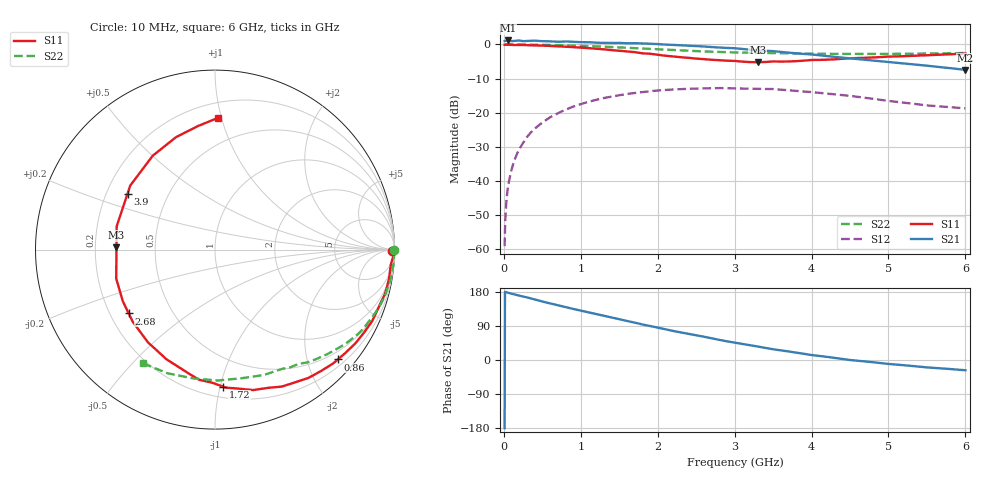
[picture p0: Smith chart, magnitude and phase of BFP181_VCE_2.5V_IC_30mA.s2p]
! Infineon Technologies  Discrete & RF Semiconductors
! BFP181
! VCE = 2.5 V,  IC =  30 mA
! Common Emitter S-Parameters:  Jan 2016
# GHz  S  MA  R  50
!  f  S11  S21  S12  S22
! GHz  MAG  ANG  MAG  ANG  MAG  ANG  MAG  ANG
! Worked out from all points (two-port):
!   210 points, 10 MHz to 6 GHz, reference 50 ohm
!   highest |S21| = 1.17 dB at 50 MHz (marker M1); lowest = -7.5 dB at 6 GHz (marker M2)
!   |S21| within 3 dB of the highest: start of sweep to 3.386 GHz
!   lowest |S11| = -5.2 dB at 3.3 GHz (marker M3), VSWR 3.43, Z = 14.6 + j0.559 ohm
!   |S11| at or under -10 dB: nowhere
!   |S22| runs from -2.8 to 0.0 dB; largest |S21 - S12| = 1.1
!   S11 on the Smith chart (normalised r, x): 10 MHz: open; 860 MHz: 0.33, -2.58; 1.72 GHz: 0.28, -1.02; 2.68 GHz: 0.28, -0.31; 3.9 GHz: 0.29, +0.27; 6 GHz: 0.31, +0.98
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0.01  0.9874 -0.6  1.12 -180.0  0.0011 84.5  0.9996 -0.2
0.015  0.9886 -0.8  1.122 179.8  0.0019 86.7  0.9987 -0.3
0.025  0.9903 -1.2  1.128 179.4  0.0036 89.9  0.998 -0.5
0.05  0.9933 -2.3  1.144 177.7  0.0076 94.2  0.9984 -1.2
0.09  0.9849 -4.4  1.123 175.5  0.0131 86.7  0.998 -2.2
0.14  0.9826 -6.7  1.128 173.0  0.0203 84.7  0.9977 -3.4
0.2  0.9829 -9.7  1.142 169.9  0.0291 83.2  0.9975 -4.8
0.3  0.9783 -14.7  1.125 165.3  0.0438 79.4  0.9943 -7.3
0.56  0.9544 -27.2  1.113 151.4  0.0796 69.5  0.9837 -13.5
0.86  0.9181 -41.8  1.1 136.9  0.1175 58.8  0.9644 -20.5
1.02  0.8948 -49.9  1.079 129.4  0.1354 53.5  0.9503 -24.1
1.3  0.8491 -64.0  1.056 116.7  0.1636 44.1  0.9272 -30.2
1.72  0.7653 -86.5  1.042 97.9  0.1949 31.1  0.8795 -38.5
2.02  0.7012 -102.9  1.008 84.6  0.212 22.6  0.8496 -43.9
2.68  0.5979 -143.5  0.918 58.2  0.2273 5.3  0.7845 -55.1
3.1  0.5595 -169.4  0.858 42.4  0.2259 -5.1  0.759 -62.1
3.3  0.549 178.6  0.822 35.6  0.2232 -9.4  0.753 -65.4
3.9  0.5784 147.4  0.726 16.4  0.204 -20.9  0.7338 -76.4
4.1  0.5934 138.9  0.693 10.7  0.1951 -24.1  0.7295 -80.5
4.5  0.6275 123.6  0.627 0.0  0.1761 -30.0  0.7296 -88.9
5.1  0.6673 106.8  0.54 -12.0  0.1443 -32.9  0.7275 -102.0
6  0.7348 88.5  0.424 -27.1  0.1155 -26.3  0.7499 -122.2
